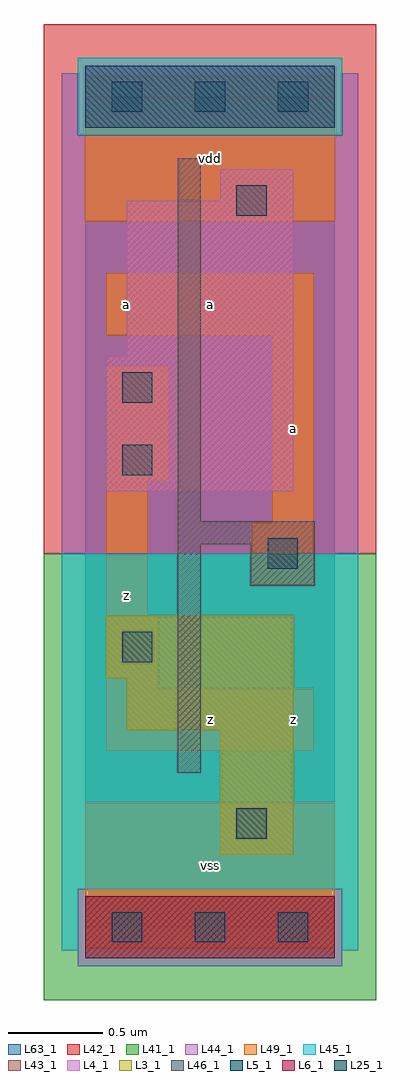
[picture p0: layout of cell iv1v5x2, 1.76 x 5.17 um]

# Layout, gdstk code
import gdstk
lib = gdstk.Library(unit=1e-6, precision=1e-09)
def R(c, l, rs):  # rectangles x0, y0, x1, y1
    for r in rs: c.add(gdstk.rectangle(r[:2], r[2:], *l))
def A(c, l, x, y, w, h, nx, ny, dx, dy):  # array of equal rectangles
    R(c, l, [(x+i*dx, y+j*dy, x+i*dx+w, y+j*dy+h) for i in range(nx) for j in range(ny)])
L3_1 = (3, 1)
L4_1 = (4, 1)
L5_1 = (5, 1)
L6_1 = (6, 1)
L25_1 = (25, 1)
L41_1 = (41, 1)
L42_1 = (42, 1)
L43_1 = (43, 1)
L44_1 = (44, 1)
L45_1 = (45, 1)
L46_1 = (46, 1)
L49_1 = (49, 1)
L63_1 = (63, 1)

iv1v5x2 = lib.new_cell('iv1v5x2')
R(iv1v5x2, L3_1, [(0.715,0.385,1.1,1.045), (0.22,1.045,1.1,1.32), (0.11,1.32,1.1,1.65)])
R(iv1v5x2, L4_1, [(0.11,2.31,1.1,3.025), (0.22,3.025,1.1,3.85), (0.715,3.85,1.1,4.015)])
R(iv1v5x2, L5_1, [(0,4.235,1.32,4.565)])
R(iv1v5x2, L6_1, [(0,-0.165,1.32,0.165)])
A(iv1v5x2, L25_1, 0.14, -0.08, 0.16, 0.16, 3, 2, 0.44, 4.4)
R(iv1v5x2, L25_1, [(0.8,0.47,0.96,0.63), (0.195,1.405,0.355,1.565), (0.965,1.9,1.125,2.06), (0.195,2.395,0.355,2.555), (0.195,2.78,0.355,2.94), (0.8,3.77,0.96,3.93)])
R(iv1v5x2, L41_1, [(-0.22,-0.385,1.54,1.98)])
R(iv1v5x2, L42_1, [(-0.22,1.98,1.54,4.785)])
R(iv1v5x2, L43_1, [(0,-0.165,1.32,0.165), (0.715,0.385,1.1,1.045), (0.22,1.045,1.1,1.32), (0.11,1.32,1.1,1.65), (0.11,2.31,1.1,3.025), (0.22,3.025,1.1,3.85), (0.715,3.85,1.1,4.015), (0,4.235,1.32,4.565)])
R(iv1v5x2, L44_1, [(-0.04,-0.205,1.36,0.205), (-0.125,1.98,1.445,4.195), (-0.125,4.195,-0.04,4.525), (1.36,4.195,1.445,4.525)])
R(iv1v5x2, L45_1, [(-0.125,-0.125,-0.04,0.205), (1.36,-0.125,1.445,0.205), (-0.125,0.205,1.445,1.98), (-0.04,4.195,1.36,4.605)])
R(iv1v5x2, L46_1, [(0.49,0.82,0.61,2.03), (0.875,1.81,1.215,2.03), (0.49,2.03,1.215,2.15), (0.49,2.15,0.61,4.075)])
R(iv1v5x2, L49_1, [(0,-0.11,1.32,0.66), (0.11,0.935,1.21,1.265), (0.11,1.265,0.385,1.65), (0.11,1.65,0.33,2.365), (0.88,1.815,1.21,2.145), (0.99,2.145,1.21,3.135), (0.11,2.365,0.44,2.97), (0.11,3.135,1.21,3.465), (0,3.74,1.32,4.51)])
R(iv1v5x2, L63_1, [(0,0,1.32,4.4)])
iv1v5x2.add(gdstk.Label('z', (0.22,1.76), layer=49, texttype=1))
iv1v5x2.add(gdstk.Label('a', (0.22,3.3), layer=49, texttype=1))
iv1v5x2.add(gdstk.Label('vss', (0.66,0.33), layer=49, texttype=1))
iv1v5x2.add(gdstk.Label('z', (0.66,1.1), layer=49, texttype=1))
iv1v5x2.add(gdstk.Label('a', (0.66,3.3), layer=49, texttype=1))
iv1v5x2.add(gdstk.Label('vdd', (0.66,4.07), layer=49, texttype=1))
iv1v5x2.add(gdstk.Label('z', (1.1,1.1), layer=49, texttype=1))
iv1v5x2.add(gdstk.Label('a', (1.1,2.64), layer=49, texttype=1))

lib.write_gds('iv1v5x2.gds')
